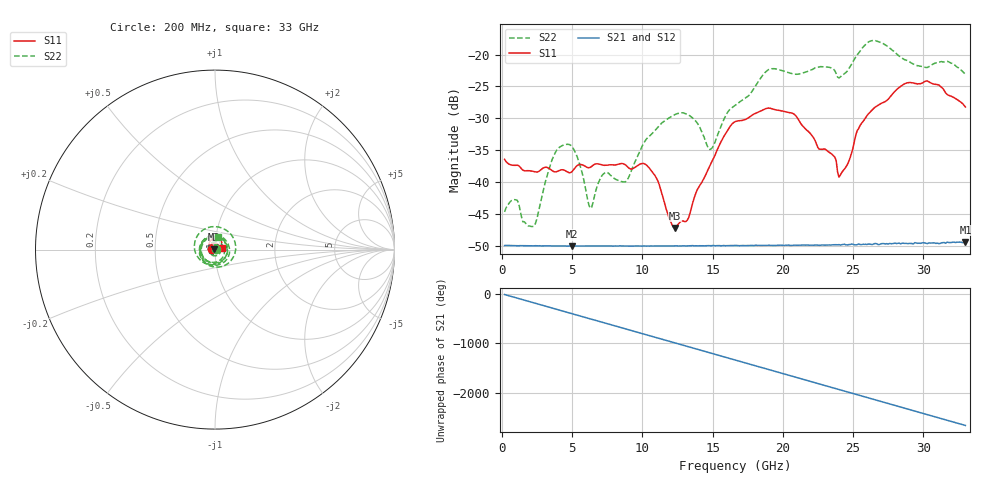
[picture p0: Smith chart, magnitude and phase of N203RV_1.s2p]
# GHZ S RI R 50
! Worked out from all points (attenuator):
!   329 points, 200 MHz to 33 GHz, reference 50 ohm
!   highest |S21| = -49.43 dB at 33 GHz (marker M1); lowest = -50.1 dB at 5 GHz (marker M2)
!   lowest |S11| = -47.2 dB at 12.3 GHz (marker M3), VSWR 1.01, Z = 49.6 + j0.164 ohm
!   |S11| at or under -10 dB: start of sweep to end of sweep
!   |S22| runs from -47.0 to -17.8 dB; largest |S21 - S12| = 7.2e-05
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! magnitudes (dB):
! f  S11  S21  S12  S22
! 200 MHz  -36.5  -50.0  -49.9  -44.7
! 1.1 GHz  -37.4  -50.0  -50.0  -42.9
! 2.3 GHz  -38.4  -50.0  -50.0  -46.9
! 3.8 GHz  -38.4  -50.1  -50.0  -35.4
! 5 GHz  -38.4  -50.1  -50.1  -34.5
! 5.7 GHz  -37.3  -50.0  -50.0  -38.4
! 6.3 GHz  -37.7  -50.1  -50.0  -44.1
! 7.2 GHz  -37.4  -50.1  -50.0  -38.8
! 8.8 GHz  -37.3  -50.1  -50.0  -40.0
! 11.2 GHz  -40.4  -50.0  -50.0  -31.2
! 12.3 GHz  -47.2  -50.0  -50.0  -29.5
! 13.7 GHz  -42.5  -50.0  -50.0  -30.2
! 14.8 GHz  -37.5  -50.0  -50.0  -34.9
! 16.6 GHz  -30.5  -50.0  -50.0  -28.0
! 19 GHz  -28.4  -49.9  -49.9  -22.4
! 22.1 GHz  -32.8  -49.9  -49.9  -22.4
! 23.7 GHz  -36.1  -49.9  -49.9  -22.5
! 24 GHz  -39.3  -49.8  -49.9  -23.7
! 25.5 GHz  -31.1  -49.8  -49.8  -19.5
! 27.6 GHz  -26.8  -49.7  -49.7  -19.0
! 30.3 GHz  -24.2  -49.7  -49.6  -22.0
! 33 GHz  -28.2  -49.4  -49.4  -23.1
